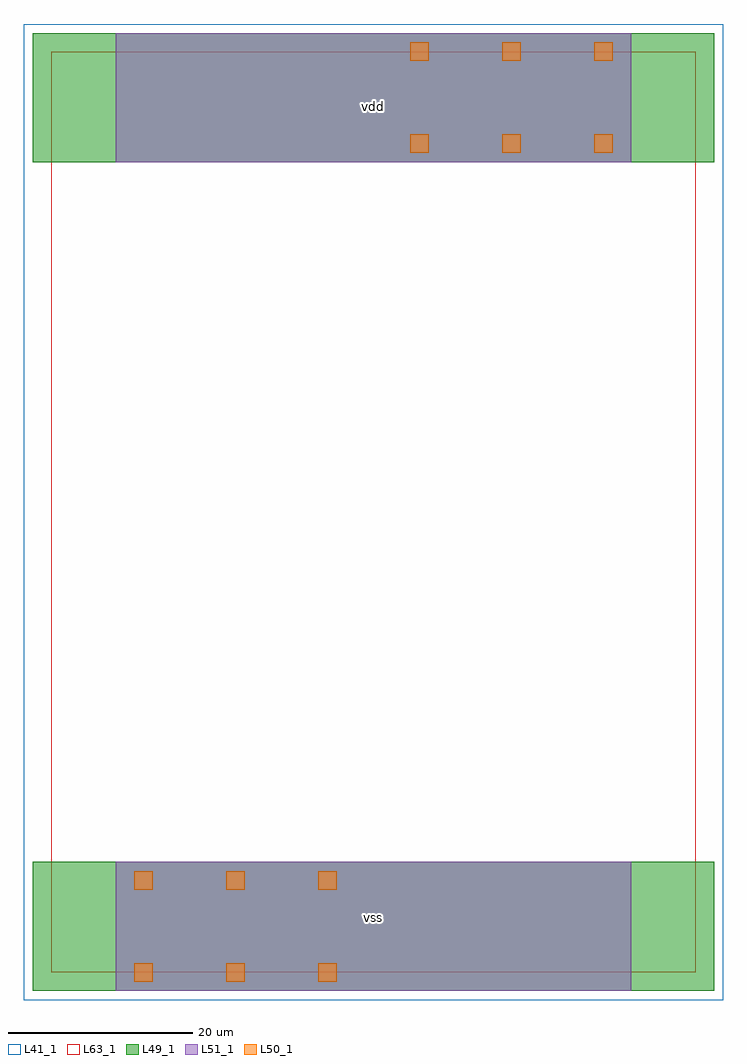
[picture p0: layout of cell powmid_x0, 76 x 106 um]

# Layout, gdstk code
import gdstk
lib = gdstk.Library(unit=1e-6, precision=1e-09)
def R(c, l, rs):  # rectangles x0, y0, x1, y1
    for r in rs: c.add(gdstk.rectangle(r[:2], r[2:], *l))
def A(c, l, x, y, w, h, nx, ny, dx, dy):  # array of equal rectangles
    R(c, l, [(x+i*dx, y+j*dy, x+i*dx+w, y+j*dy+h) for i in range(nx) for j in range(ny)])
L41_1 = (41, 1)
L49_1 = (49, 1)
L50_1 = (50, 1)
L51_1 = (51, 1)
L63_1 = (63, 1)

powmid_x0 = lib.new_cell('powmid_x0')
R(powmid_x0, L41_1, [(-3,-3,73,103)])
R(powmid_x0, L49_1, [(-2,-2,72,12), (-2,88,72,102)])
A(powmid_x0, L50_1, 9, -1, 2, 2, 3, 2, 10, 10)
A(powmid_x0, L50_1, 39, 89, 2, 2, 3, 2, 10, 10)
R(powmid_x0, L51_1, [(7,-2,63,12), (7,88,63,102)])
R(powmid_x0, L63_1, [(0,0,70,100)])
powmid_x0.add(gdstk.Label('vss', (35,6), layer=49, texttype=1))
powmid_x0.add(gdstk.Label('vss', (35,6), layer=49, texttype=1))
powmid_x0.add(gdstk.Label('vdd', (35,94), layer=49, texttype=1))
powmid_x0.add(gdstk.Label('vdd', (35,94), layer=49, texttype=1))
powmid_x0.add(gdstk.Label('vss', (35,6), layer=51, texttype=1))
powmid_x0.add(gdstk.Label('vdd', (35,94), layer=51, texttype=1))

lib.write_gds('powmid_x0.gds')
